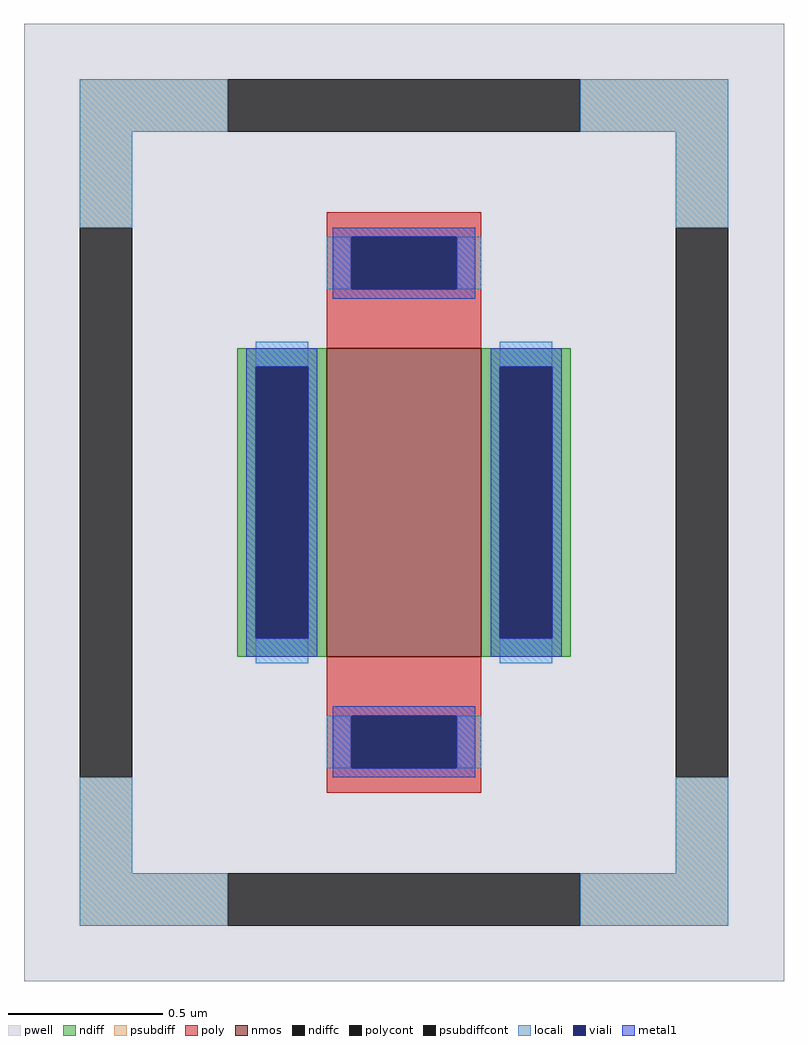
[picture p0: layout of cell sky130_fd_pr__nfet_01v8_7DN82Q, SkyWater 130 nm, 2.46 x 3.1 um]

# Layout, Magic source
magic
tech sky130A
<< pwell >>
rect -123 -155 123 155
<< nmos >>
rect -25 -50 25 50
<< ndiff >>
rect -54 44 -25 50
rect -54 -44 -48 44
rect -31 -44 -25 44
rect -54 -50 -25 -44
rect 25 44 54 50
rect 25 -44 31 44
rect 48 -44 54 44
rect 25 -50 54 -44
<< ndiffc >>
rect -48 -44 -31 44
rect 31 -44 48 44
<< psubdiff >>
rect -105 120 -57 137
rect 57 120 105 137
rect -105 89 -88 120
rect 88 89 105 120
rect -105 -120 -88 -89
rect 88 -120 105 -89
rect -105 -137 -57 -120
rect 57 -137 105 -120
<< psubdiffcont >>
rect -57 120 57 137
rect -105 -89 -88 89
rect 88 -89 105 89
rect -57 -137 57 -120
<< poly >>
rect -25 86 25 94
rect -25 69 -17 86
rect 17 69 25 86
rect -25 50 25 69
rect -25 -69 25 -50
rect -25 -86 -17 -69
rect 17 -86 25 -69
rect -25 -94 25 -86
<< polycont >>
rect -17 69 17 86
rect -17 -86 17 -69
<< locali >>
rect -105 120 -57 137
rect 57 120 105 137
rect -105 89 -88 120
rect 88 89 105 120
rect -25 69 -17 86
rect 17 69 25 86
rect -48 44 -31 52
rect -48 -52 -31 -44
rect 31 44 48 52
rect 31 -52 48 -44
rect -25 -86 -17 -69
rect 17 -86 25 -69
rect -105 -120 -88 -89
rect 88 -120 105 -89
rect -105 -137 -57 -120
rect 57 -137 105 -120
<< viali >>
rect -17 69 17 86
rect -48 -44 -31 44
rect 31 -44 48 44
rect -17 -86 17 -69
<< metal1 >>
rect -23 86 23 89
rect -23 69 -17 86
rect 17 69 23 86
rect -23 66 23 69
rect -51 44 -28 50
rect -51 -44 -48 44
rect -31 -44 -28 44
rect -51 -50 -28 -44
rect 28 44 51 50
rect 28 -44 31 44
rect 48 -44 51 44
rect 28 -50 51 -44
rect -23 -69 23 -66
rect -23 -86 -17 -69
rect 17 -86 23 -69
rect -23 -89 23 -86
<< properties >>
string FIXED_BBOX -96 -128 96 128
string gencell sky130_fd_pr__nfet_01v8
string library sky130
string parameters w 1.0 l 0.5 m 1 nf 1 diffcov 100 polycov 100 guard 1 glc 1 grc 1 gtc 1 gbc 1 tbcov 100 rlcov 100 topc 1 botc 1 poverlap 0 doverlap 1 lmin 0.15 wmin 0.42 class mosfet compatible {sky130_fd_pr__nfet_01v8 sky130_fd_pr__nfet_01v8_lvt  sky130_fd_bs_flash__special_sonosfet_star  sky130_fd_pr__nfet_g5v0d10v5 sky130_fd_pr__nfet_05v0_nvt  sky130_fd_pr__nfet_03v3_nvt} full_metal 1 viasrc 100 viadrn 100 viagate 100 viagb 0 viagr 0 viagl 0 viagt 0
<< end >>
